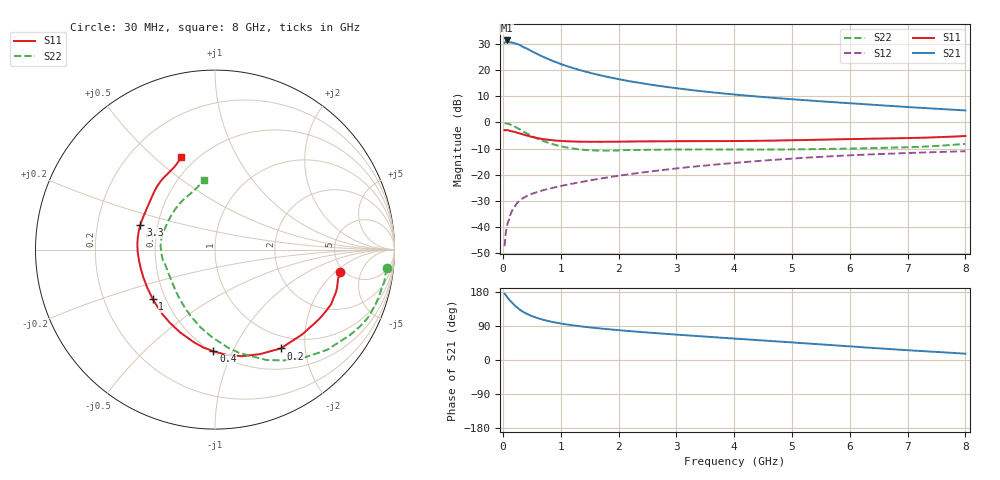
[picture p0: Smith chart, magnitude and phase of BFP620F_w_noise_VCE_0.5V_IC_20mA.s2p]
! Infineon Technologies  Discrete & RF Semiconductors
! BFP620F
! VCE =  0.5 V,  IC =  20 mA
! Common Emitter S-Parameters:  Dec 2014
# GHz  S  MA  R  50
!  f  S11  S21  S12  S22
! GHz  MAG  ANG  MAG  ANG  MAG  ANG  MAG  ANG
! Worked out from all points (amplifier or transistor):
!   95 points, 30 MHz to 8 GHz, reference 50 ohm
!   highest |S21| = 31.4 dB at 70 MHz (marker M1)
!   |S21| within 3 dB of that: start of sweep to 404.7 MHz
!   unconditionally stable (mu >= 1): 2.794 GHz to end of sweep
!   at 300 MHz: K = 0.27, MSG = 29.6 dB, |S12| = -29.7 dB
!   at 3.3 GHz: K = 1.02, MAG = 13.8 dB, |S12| = -16.9 dB
!   at 8 GHz: K = 1.07, MAG = 6.2 dB, |S12| = -11.0 dB
!   lowest NFmin = 0.84 dB at 450 MHz
!   S11 on the Smith chart (normalised r, x): 30 MHz: 4.63, -2.36; 200 MHz: 0.80, -1.56; 400 MHz: 0.51, -0.85; 1 GHz: 0.42, -0.29; 3.3 GHz: 0.40, +0.14; 8 GHz: 0.42, +0.62
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0.03  0.7094 -10.3  33.22 175.0  0.0043 80.3  0.9623 -6.2
0.05  0.7108 -16.5  35.73 171.4  0.0079 73.3  0.9603 -10.8
0.07  0.7134 -22.0  36.97 167.0  0.0099 78.6  0.9512 -15.1
0.09  0.7092 -27.9  36.25 162.7  0.0126 78.3  0.9431 -19.5
0.12  0.6895 -36.9  34.06 157.4  0.0162 77.3  0.9227 -26.2
0.15  0.6769 -44.6  34.07 152.7  0.0197 70.8  0.8901 -32.3
0.2  0.6612 -56.4  32.7 144.8  0.0242 68.2  0.8387 -41.7
0.25  0.634 -66.7  31.59 138.1  0.029 64.0  0.781 -50.3
0.3  0.613 -75.7  30.05 132.1  0.0328 60.9  0.7279 -58.0
0.35  0.5893 -84.1  27.68 127.2  0.0358 58.6  0.6785 -65.0
0.4  0.5659 -90.9  26.34 123.0  0.0384 56.3  0.6262 -71.4
0.5  0.5296 -102.8  22.98 116.0  0.043 54.3  0.551 -82.5
0.7  0.4789 -121.7  17.91 106.0  0.0507 52.0  0.4416 -100.4
1  0.4437 -141.4  13.14 96.4  0.0608 52.0  0.3508 -121.3
1.4  0.4286 -158.9  9.565 87.9  0.0741 52.6  0.2993 -143.6
1.9  0.428 -173.5  7.084 80.1  0.0921 52.9  0.2896 -163.3
2.7  0.4356 170.7  5.009 70.3  0.1208 50.6  0.3012 -179.6
3.3  0.4384 161.6  4.116 63.9  0.1425 48.1  0.3045 172.4
4.1  0.4416 150.9  3.345 55.6  0.1714 43.7  0.3028 162.2
5.4  0.4656 137.2  2.582 42.2  0.2165 34.7  0.309 142.7
6.7  0.4951 123.6  2.071 28.8  0.2527 24.6  0.3288 122.3
8  0.5502 109.9  1.695 16.7  0.2812 14.8  0.3902 99.1
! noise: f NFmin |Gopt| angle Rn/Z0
0.45  0.84  0.05  2  0.21
0.9  0.9  0.04  6  0.18
1.5  0.94  0.04  8  0.15
1.8  0.96  0.04  9  0.15
1.9  0.97  0.01  28  0.15
2.4  1.01  0.01  88  0.15
3.5  1.08  0.04  -178  0.15
5.5  1.22  0.15  230  0.1
6  1.25  0.15  253  0.14
